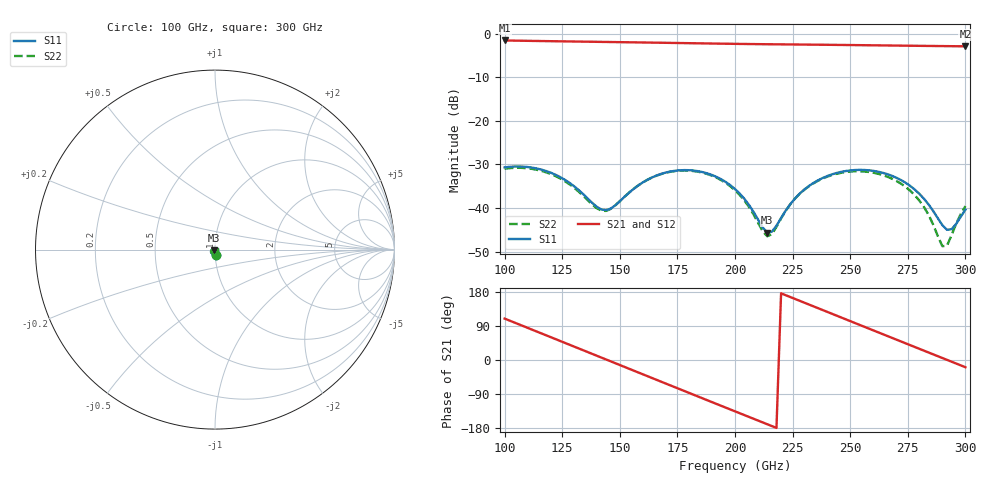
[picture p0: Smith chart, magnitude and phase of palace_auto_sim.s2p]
#  GHZ S DB R 50
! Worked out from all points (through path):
!   101 points, 100 GHz to 300 GHz, reference 50 ohm
!   highest |S21| = -1.55 dB at 100 GHz (marker M1); lowest = -2.9 dB at 300 GHz (marker M2)
!   group delay of S21, straight-line fit = 6.78 ps
!   lowest |S11| = -45.6 dB at 214 GHz (marker M3), VSWR 1.01, Z = 49.6 - j0.371 ohm
!   |S11| at or under -10 dB: start of sweep to end of sweep
!   |S22| runs from -48.8 to -30.8 dB; largest |S21 - S12| = 1.3e-13
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100  -30.69 -78.5  -1.55 109.3  -1.55 109.3  -31.01 -78.8
108  -30.51 -95.4  -1.63 89.7  -1.63 89.7  -30.81 -95.7
116  -31.20 -111.7  -1.69 70.1  -1.69 70.1  -31.50 -111.8
134  -36.78 -134.2  -1.82 26.0  -1.82 26.0  -37.15 -133.5
144  -40.51 -106.6  -1.90 1.5  -1.90 1.5  -40.68 -104.1
156  -35.63 -83.5  -1.99 -27.9  -1.99 -27.9  -35.61 -82.9
168  -32.17 -99.9  -2.08 -57.3  -2.08 -57.3  -32.21 -100.0
184  -31.56 -133.0  -2.21 -96.5  -2.21 -96.5  -31.69 -133.5
200  -35.66 -163.7  -2.33 -135.5  -2.33 -135.5  -35.94 -164.7
214  -45.65 -134.2  -2.42 -169.5  -2.42 -169.5  -46.50 -131.3
216  -45.46 -114.8  -2.43 -174.4  -2.43 -174.4  -46.02 -110.2
226  -37.85 -85.9  -2.48 161.3  -2.48 161.3  -37.88 -84.4
234  -34.28 -95.1  -2.52 141.8  -2.52 141.8  -34.36 -94.7
244  -31.99 -112.8  -2.57 117.3  -2.57 117.3  -32.17 -113.2
252  -31.30 -128.6  -2.62 97.8  -2.62 97.8  -31.58 -129.5
268  -32.60 -160.1  -2.72 58.8  -2.72 58.8  -33.25 -162.5
280  -36.74 -178.1  -2.79 29.5  -2.79 29.5  -38.29 177.7
284  -39.18 -179.2  -2.81 19.8  -2.81 19.8  -41.57 176.5
290  -43.94 -162.3  -2.85 5.2  -2.85 5.2  -48.77 -148.8
292  -45.00 -146.9  -2.86 0.4  -2.86 0.4  -48.68 -118.0
294  -44.88 -129.1  -2.87 -4.5  -2.87 -4.5  -46.25 -97.1
300  -40.39 -101.5  -2.90 -19.1  -2.90 -19.1  -39.58 -84.6
